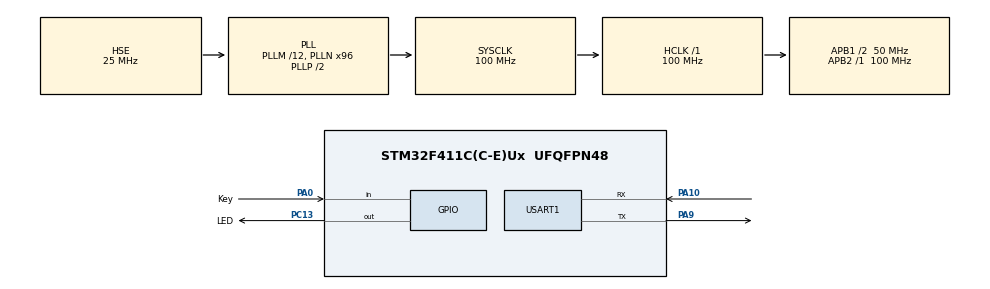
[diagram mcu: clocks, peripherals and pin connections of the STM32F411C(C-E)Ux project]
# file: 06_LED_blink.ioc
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FREERTOS.Tasks01=defaultTask,24,128,StartDefaultTask,Default,NULL,Dynamic,NULL,NULL
Mcu.Family=STM32F4
Mcu.Name=STM32F411C(C-E)Ux
Mcu.Package=UFQFPN48
NVIC.PriorityGroup=NVIC_PRIORITYGROUP_4
NVIC.TIM1_UP_TIM10_IRQn=true\:15\:0\:false\:false\:true\:false\:false\:true\:true
NVIC.TimeBase=TIM1_UP_TIM10_IRQn
NVIC.TimeBaseIP=TIM1
PA0-WKUP.GPIO_Label=Key
PA0-WKUP.GPIO_PuPd=GPIO_PULLUP
PA0-WKUP.Signal=GPIO_Input
PA10.Mode=Asynchronous
PA10.Signal=USART1_RX
PA13.Mode=Serial_Wire
PA13.Signal=SYS_JTMS-SWDIO
PA14.Mode=Serial_Wire
PA14.Signal=SYS_JTCK-SWCLK
PA9.Mode=Asynchronous
PA9.Signal=USART1_TX
PC13-ANTI_TAMP.GPIO_Label=LED
PC13-ANTI_TAMP.Signal=GPIO_Output
PC14-OSC32_IN.Mode=LSE-External-Oscillator
PC14-OSC32_IN.Signal=RCC_OSC32_IN
PC15-OSC32_OUT.Mode=LSE-External-Oscillator
PC15-OSC32_OUT.Signal=RCC_OSC32_OUT
PH0\ -\ OSC_IN.Mode=HSE-External-Oscillator
PH0\ -\ OSC_IN.Signal=RCC_OSC_IN
PH1\ -\ OSC_OUT.Mode=HSE-External-Oscillator
PH1\ -\ OSC_OUT.Signal=RCC_OSC_OUT
ProjectManager.HeapSize=0x200
ProjectManager.StackSize=0x400
ProjectManager.TargetToolchain=MDK-ARM V5.32
RCC.48MHZClocksFreq_Value=50000000
RCC.AHBFreq_Value=100000000
RCC.APB1CLKDivider=RCC_HCLK_DIV2
RCC.APB1Freq_Value=50000000
RCC.APB1TimFreq_Value=100000000
RCC.APB2Freq_Value=100000000
RCC.APB2TimFreq_Value=100000000
RCC.CortexFreq_Value=100000000
RCC.HCLKFreq_Value=100000000
RCC.HSE_VALUE=25000000
RCC.HSI_VALUE=16000000
RCC.PLLM=12
RCC.PLLN=96
RCC.PLLSourceVirtual=RCC_PLLSOURCE_HSE
RCC.SYSCLKFreq_VALUE=100000000
RCC.SYSCLKSource=RCC_SYSCLKSOURCE_PLLCLK
RCC.VCOOutputFreq_Value=200000000
USART1.VirtualMode=VM_ASYNC
VP_FREERTOS_VS_CMSIS_V2.Mode=CMSIS_V2
VP_SYS_VS_tim1.Mode=TIM1
board=custom

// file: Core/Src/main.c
/* USER CODE BEGIN Header */
/**
  ******************************************************************************
  * @file           : main.c
  * @brief          : Main program body
  ******************************************************************************
  * @attention
  *
  * Copyright (c) 2025 STMicroelectronics.
  * All rights reserved.
  *
  * This software is licensed under terms that can be found in the LICENSE file
  * in the root directory of this software component.
  * If no LICENSE file comes with this software, it is provided AS-IS.
  *
  ******************************************************************************
  */
/* USER CODE END Header */
#include "main.h"
#include "cmsis_os.h"

/* USER CODE BEGIN Includes */
#include <stdio.h>
/* USER CODE END Includes */

UART_HandleTypeDef huart1;

/* Definitions for defaultTask */
osThreadId_t defaultTaskHandle;
const osThreadAttr_t defaultTask_attributes = {
  .name = "defaultTask",
  .stack_size = 128 * 4,
  .priority = (osPriority_t) osPriorityNormal,
};

void SystemClock_Config(void);
static void MX_GPIO_Init(void);
static void MX_USART1_UART_Init(void);
void StartDefaultTask(void *argument);

/* USER CODE BEGIN PFP */
 #ifdef __GNUC__
     #define PUTCHAR_PROTOTYPE int _io_putchar(int ch)
 #else
     #define PUTCHAR_PROTOTYPE int fputc(int ch, FILE *f)
 #endif /* __GNUC__*/

 /******************************************************************
     *@brief  Retargets the C library printf  function to the USART.
     *@param  None
     *@retval None
 ******************************************************************/
 PUTCHAR_PROTOTYPE
 {
     HAL_UART_Transmit(&huart1, (uint8_t *)&ch,1,0xFFFF);
     return ch;
 }
/* USER CODE END PFP */

int main(void)
{

  /* MCU Configuration--------------------------------------------------------*/

  /* Reset of all peripherals, Initializes the Flash interface and the Systick. */
  HAL_Init();

  /* Configure the system clock */
  SystemClock_Config();

  /* Initialize all configured peripherals */
  MX_GPIO_Init();
  MX_USART1_UART_Init();

  /* Init scheduler */
  osKernelInitialize();

  /* Create the thread(s) */
  /* creation of defaultTask */
  defaultTaskHandle = osThreadNew(StartDefaultTask, NULL, &defaultTask_attributes);

  /* Start scheduler */
  osKernelStart();

  /* We should never get here as control is now taken by the scheduler */

  /* Infinite loop */
  /* USER CODE BEGIN WHILE */
  while (1)
  {
		// 启用RTOS之后代码不会运行到这里
//		HAL_GPIO_WritePin(GPIOC, GPIO_PIN_13, GPIO_PIN_RESET);
//		HAL_Delay(100);
//		HAL_GPIO_WritePin(GPIOC, GPIO_PIN_13, GPIO_PIN_SET);
//		HAL_Delay(100);

    /* USER CODE END WHILE */

  }
}

void SystemClock_Config(void)
{
  RCC_OscInitTypeDef RCC_OscInitStruct = {0};
  RCC_ClkInitTypeDef RCC_ClkInitStruct = {0};

  /** Configure the main internal regulator output voltage
  */
  __HAL_RCC_PWR_CLK_ENABLE();
  __HAL_PWR_VOLTAGESCALING_CONFIG(PWR_REGULATOR_VOLTAGE_SCALE1);

  /** Initializes the RCC Oscillators according to the specified parameters
  * in the RCC_OscInitTypeDef structure.
  */
  RCC_OscInitStruct.OscillatorType = RCC_OSCILLATORTYPE_HSE;
  RCC_OscInitStruct.HSEState = RCC_HSE_ON;
  RCC_OscInitStruct.PLL.PLLState = RCC_PLL_ON;
  RCC_OscInitStruct.PLL.PLLSource = RCC_PLLSOURCE_HSE;
  RCC_OscInitStruct.PLL.PLLM = 12;
  RCC_OscInitStruct.PLL.PLLN = 96;
  RCC_OscInitStruct.PLL.PLLP = RCC_PLLP_DIV2;
  RCC_OscInitStruct.PLL.PLLQ = 4;
  if (HAL_RCC_OscConfig(&RCC_OscInitStruct) != HAL_OK)
  {
    Error_Handler();
  }

  /** Initializes the CPU, AHB and APB buses clocks
  */
  RCC_ClkInitStruct.ClockType = RCC_CLOCKTYPE_HCLK|RCC_CLOCKTYPE_SYSCLK
                              |RCC_CLOCKTYPE_PCLK1|RCC_CLOCKTYPE_PCLK2;
  RCC_ClkInitStruct.SYSCLKSource = RCC_SYSCLKSOURCE_PLLCLK;
  RCC_ClkInitStruct.AHBCLKDivider = RCC_SYSCLK_DIV1;
  RCC_ClkInitStruct.APB1CLKDivider = RCC_HCLK_DIV2;
  RCC_ClkInitStruct.APB2CLKDivider = RCC_HCLK_DIV1;

  if (HAL_RCC_ClockConfig(&RCC_ClkInitStruct, FLASH_LATENCY_3) != HAL_OK)
  {
    Error_Handler();
  }
}

static void MX_USART1_UART_Init(void)
{

  huart1.Instance = USART1;
  huart1.Init.BaudRate = 115200;
  huart1.Init.WordLength = UART_WORDLENGTH_8B;
  huart1.Init.StopBits = UART_STOPBITS_1;
  huart1.Init.Parity = UART_PARITY_NONE;
  huart1.Init.Mode = UART_MODE_TX_RX;
  huart1.Init.HwFlowCtl = UART_HWCONTROL_NONE;
  huart1.Init.OverSampling = UART_OVERSAMPLING_16;
  if (HAL_UART_Init(&huart1) != HAL_OK)
  {
    Error_Handler();
  }

}

static void MX_GPIO_Init(void)
{
  GPIO_InitTypeDef GPIO_InitStruct = {0};

  /* GPIO Ports Clock Enable */
  __HAL_RCC_GPIOC_CLK_ENABLE();
  __HAL_RCC_GPIOH_CLK_ENABLE();
  __HAL_RCC_GPIOA_CLK_ENABLE();

  /*Configure GPIO pin Output Level */
  HAL_GPIO_WritePin(LED_GPIO_Port, LED_Pin, GPIO_PIN_RESET);

  /*Configure GPIO pin : LED_Pin */
  GPIO_InitStruct.Pin = LED_Pin;
  GPIO_InitStruct.Mode = GPIO_MODE_OUTPUT_PP;
  GPIO_InitStruct.Pull = GPIO_NOPULL;
  GPIO_InitStruct.Speed = GPIO_SPEED_FREQ_LOW;
  HAL_GPIO_Init(LED_GPIO_Port, &GPIO_InitStruct);

  /*Configure GPIO pin : Key_Pin */
  GPIO_InitStruct.Pin = Key_Pin;
  GPIO_InitStruct.Mode = GPIO_MODE_INPUT;
  GPIO_InitStruct.Pull = GPIO_PULLUP;
  HAL_GPIO_Init(Key_GPIO_Port, &GPIO_InitStruct);

}

void StartDefaultTask(void *argument)
{
  /* USER CODE BEGIN 5 */
  /* Infinite loop */
  for(;;)
  {
    printf("Hellow Eternal Chip\r\n");
    //1.先读取按键（PA0)的GPIO的电平，如果电平是高电平，则说明，按键没有被按下。
    if(GPIO_PIN_SET == HAL_GPIO_ReadPin(Key_GPIO_Port, Key_Pin))
    {
        //什么都不做
    } else {
			  // 打印数据
				printf("The key is pressed\r\n");
        //2.1 LED亮起
        HAL_GPIO_WritePin(LED_GPIO_Port, LED_Pin, GPIO_PIN_RESET);
        //2.2 延时500ms
        HAL_Delay(500);
        //2.3 LED熄灭
        HAL_GPIO_WritePin(LED_GPIO_Port, LED_Pin, GPIO_PIN_SET);
        //2.4 延时500ms
        HAL_Delay(500);
    }

    osDelay(1);
  }
  /* USER CODE END 5 */
}

void HAL_TIM_PeriodElapsedCallback(TIM_HandleTypeDef *htim)
{
  if (htim->Instance == TIM1)
  {
    HAL_IncTick();
  }
}

void Error_Handler(void)
{
  __disable_irq();
  while (1)
  {
  }
}
